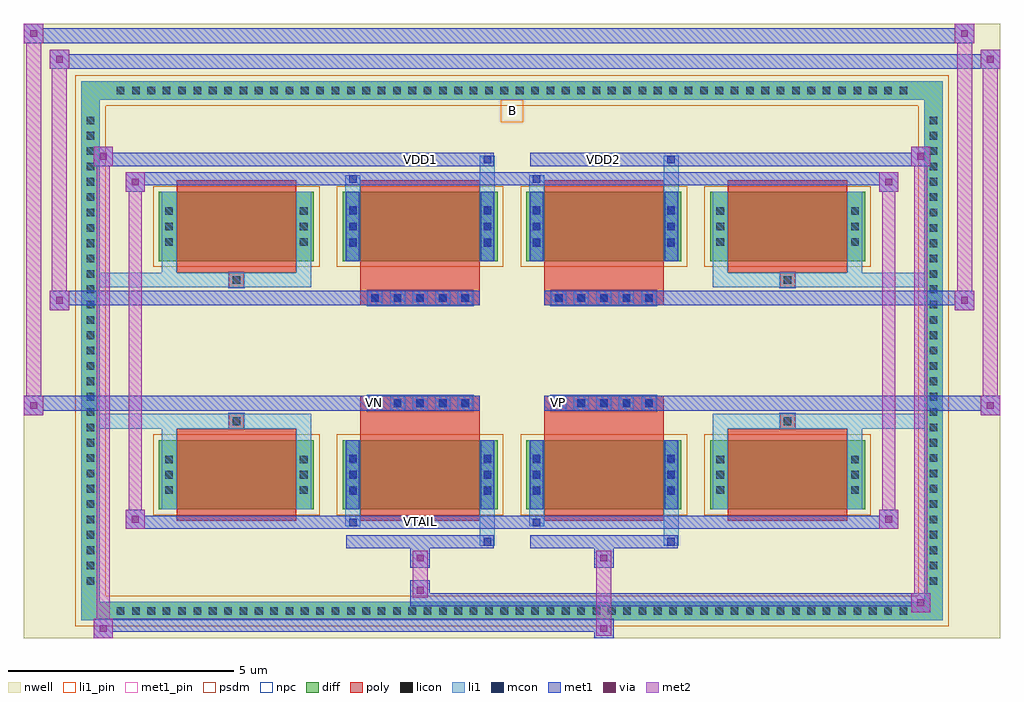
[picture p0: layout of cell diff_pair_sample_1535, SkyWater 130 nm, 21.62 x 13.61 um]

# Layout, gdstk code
import gdstk
lib = gdstk.Library(unit=1e-6, precision=5e-09)
def R(c, l, rs):  # rectangles x0, y0, x1, y1
    for r in rs: c.add(gdstk.rectangle(r[:2], r[2:], *l))
def A(c, l, x, y, w, h, nx, ny, dx, dy):  # array of equal rectangles
    R(c, l, [(x+i*dx, y+j*dy, x+i*dx+w, y+j*dy+h) for i in range(nx) for j in range(ny)])
def P(c, l, *ps):  # polygons
    for p in ps: c.add(gdstk.Polygon(p, *l))
nwell = (64, 20)
diff = (65, 20)
poly = (66, 20)
licon = (66, 44)
li1_pin = (67, 16)
li1 = (67, 20)
mcon = (67, 44)
met1_pin = (68, 16)
met1 = (68, 20)
via = (68, 44)
met2 = (69, 20)
psdm = (94, 20)
npc = (95, 20)

diff_pair_sample_1535 = lib.new_cell('diff_pair_sample_1535')
R(diff_pair_sample_1535, nwell, [(-10.81,-6.37,10.81,7.24), (-8.13,-4.56,-0.01,-0.8), (0.01,-4.56,8.13,-0.8), (-8.13,0.8,-0.01,4.56), (0.01,0.8,8.13,4.56)])
A(diff_pair_sample_1535, diff, -8.875, -5.97, 0.41, 0.41, 52, 2, 0.34, 11.53)
A(diff_pair_sample_1535, diff, -9.54, -5.305, 0.41, 0.41, 1, 31, 0, 0.34)
A(diff_pair_sample_1535, diff, 9.13, -5.305, 0.41, 0.41, 1, 31, 0, 0.34)
A(diff_pair_sample_1535, diff, -7.82, -3.515, 3.43, 1.53, 4, 2, 4.07, 5.5)
R(diff_pair_sample_1535, diff, [(-8.875,-5.97,8.875,-5.56), (-9.54,-5.305,-9.13,5.305), (9.13,-5.305,9.54,5.305), (-8.875,5.56,8.875,5.97)])
P(diff_pair_sample_1535, diff, [(9.54,5.97),(-9.54,5.97),(-9.54,-5.56),(-9.13,-5.56),(-9.13,5.56),(9.13,5.56),(9.13,-5.56),(-9.13,-5.56),(-9.54,-5.56),(-9.54,-5.97),(9.54,-5.97)])
A(diff_pair_sample_1535, poly, -7.43, -3.77, 2.65, 2.04, 4, 2, 4.07, 5.5)
A(diff_pair_sample_1535, poly, -3.2, -1.33, 0.33, 0.33, 5, 2, 0.5, 2.33)
A(diff_pair_sample_1535, poly, 0.87, -1.33, 0.33, 0.33, 5, 2, 0.5, 2.33)
R(diff_pair_sample_1535, poly, [(-6.27,-1.73,-5.94,-1.4), (-6.27,-1.73,-5.94,-1.4), (-3.36,-1.73,-0.71,-1.33), (0.71,-1.73,3.36,-1.33), (5.94,-1.73,6.27,-1.4), (5.94,-1.73,6.27,-1.4), (-3.36,-1.33,-0.71,-1), (0.71,-1.33,3.36,-1), (-3.36,1,-0.71,1.33), (0.71,1,3.36,1.33), (-3.36,1.33,-0.71,1.73), (0.71,1.33,3.36,1.73), (-6.27,1.4,-5.94,1.73), (-6.27,1.4,-5.94,1.73), (5.94,1.4,6.27,1.73), (5.94,1.4,6.27,1.73)])
A(diff_pair_sample_1535, licon, -8.755, -5.85, 0.17, 0.17, 52, 2, 0.34, 11.53)
A(diff_pair_sample_1535, licon, -9.42, -5.185, 0.17, 0.17, 1, 31, 0, 0.34)
A(diff_pair_sample_1535, licon, 9.25, -5.185, 0.17, 0.17, 1, 31, 0, 0.34)
A(diff_pair_sample_1535, licon, -7.68, -3.175, 0.17, 0.17, 1, 3, 0, 0.34)
A(diff_pair_sample_1535, licon, -4.7, -3.175, 0.17, 0.17, 1, 3, 0, 0.34)
A(diff_pair_sample_1535, licon, -3.61, -3.175, 0.17, 0.17, 1, 3, 0, 0.34)
A(diff_pair_sample_1535, licon, -0.63, -3.175, 0.17, 0.17, 1, 3, 0, 0.34)
A(diff_pair_sample_1535, licon, 0.46, -3.175, 0.17, 0.17, 1, 3, 0, 0.34)
A(diff_pair_sample_1535, licon, 3.44, -3.175, 0.17, 0.17, 1, 3, 0, 0.34)
A(diff_pair_sample_1535, licon, 4.53, -3.175, 0.17, 0.17, 1, 3, 0, 0.34)
A(diff_pair_sample_1535, licon, 7.51, -3.175, 0.17, 0.17, 1, 3, 0, 0.34)
A(diff_pair_sample_1535, licon, -3.12, -1.25, 0.17, 0.17, 5, 2, 0.5, 2.33)
A(diff_pair_sample_1535, licon, 0.95, -1.25, 0.17, 0.17, 5, 2, 0.5, 2.33)
A(diff_pair_sample_1535, licon, -7.68, 2.325, 0.17, 0.17, 1, 3, 0, 0.34)
A(diff_pair_sample_1535, licon, -4.7, 2.325, 0.17, 0.17, 1, 3, 0, 0.34)
A(diff_pair_sample_1535, licon, -3.61, 2.325, 0.17, 0.17, 1, 3, 0, 0.34)
A(diff_pair_sample_1535, licon, -0.63, 2.325, 0.17, 0.17, 1, 3, 0, 0.34)
A(diff_pair_sample_1535, licon, 0.46, 2.325, 0.17, 0.17, 1, 3, 0, 0.34)
A(diff_pair_sample_1535, licon, 3.44, 2.325, 0.17, 0.17, 1, 3, 0, 0.34)
A(diff_pair_sample_1535, licon, 4.53, 2.325, 0.17, 0.17, 1, 3, 0, 0.34)
A(diff_pair_sample_1535, licon, 7.51, 2.325, 0.17, 0.17, 1, 3, 0, 0.34)
R(diff_pair_sample_1535, licon, [(-6.19,-1.65,-6.02,-1.48), (6.02,-1.65,6.19,-1.48), (-6.19,1.48,-6.02,1.65), (6.02,1.48,6.19,1.65)])
R(diff_pair_sample_1535, li1_pin, [(-0.25,5.06,0.25,5.56)])
A(diff_pair_sample_1535, li1, -8.835, -5.93, 0.33, 0.33, 52, 2, 0.34, 11.53)
A(diff_pair_sample_1535, li1, -9.5, -5.265, 0.33, 0.33, 1, 31, 0, 0.34)
A(diff_pair_sample_1535, li1, 9.17, -5.265, 0.33, 0.33, 1, 31, 0, 0.34)
A(diff_pair_sample_1535, li1, -7.76, -3.255, 0.33, 0.33, 1, 3, 0, 0.34)
A(diff_pair_sample_1535, li1, -4.78, -3.255, 0.33, 0.33, 1, 3, 0, 0.34)
A(diff_pair_sample_1535, li1, -3.69, -3.255, 0.33, 0.33, 1, 3, 0, 0.34)
A(diff_pair_sample_1535, li1, -0.71, -3.255, 0.33, 0.33, 1, 3, 0, 0.34)
A(diff_pair_sample_1535, li1, 0.38, -3.255, 0.33, 0.33, 1, 3, 0, 0.34)
A(diff_pair_sample_1535, li1, 3.36, -3.255, 0.33, 0.33, 1, 3, 0, 0.34)
A(diff_pair_sample_1535, li1, 4.45, -3.255, 0.33, 0.33, 1, 3, 0, 0.34)
A(diff_pair_sample_1535, li1, 7.43, -3.255, 0.33, 0.33, 1, 3, 0, 0.34)
A(diff_pair_sample_1535, li1, -3.61, -3.195, 0.17, 0.17, 1, 3, 0, 0.36)
A(diff_pair_sample_1535, li1, -0.63, -3.195, 0.17, 0.17, 1, 3, 0, 0.36)
A(diff_pair_sample_1535, li1, 0.46, -3.195, 0.17, 0.17, 1, 3, 0, 0.36)
A(diff_pair_sample_1535, li1, 3.44, -3.195, 0.17, 0.17, 1, 3, 0, 0.36)
A(diff_pair_sample_1535, li1, -3.2, -1.33, 0.33, 0.33, 5, 2, 0.5, 2.33)
A(diff_pair_sample_1535, li1, 0.87, -1.33, 0.33, 0.33, 5, 2, 0.5, 2.33)
A(diff_pair_sample_1535, li1, -7.76, 2.245, 0.33, 0.33, 1, 3, 0, 0.34)
A(diff_pair_sample_1535, li1, -4.78, 2.245, 0.33, 0.33, 1, 3, 0, 0.34)
A(diff_pair_sample_1535, li1, -3.69, 2.245, 0.33, 0.33, 1, 3, 0, 0.34)
A(diff_pair_sample_1535, li1, -0.71, 2.245, 0.33, 0.33, 1, 3, 0, 0.34)
A(diff_pair_sample_1535, li1, 0.38, 2.245, 0.33, 0.33, 1, 3, 0, 0.34)
A(diff_pair_sample_1535, li1, 3.36, 2.245, 0.33, 0.33, 1, 3, 0, 0.34)
A(diff_pair_sample_1535, li1, 4.45, 2.245, 0.33, 0.33, 1, 3, 0, 0.34)
A(diff_pair_sample_1535, li1, 7.43, 2.245, 0.33, 0.33, 1, 3, 0, 0.34)
A(diff_pair_sample_1535, li1, -3.61, 2.305, 0.17, 0.17, 1, 3, 0, 0.36)
A(diff_pair_sample_1535, li1, -0.63, 2.305, 0.17, 0.17, 1, 3, 0, 0.36)
A(diff_pair_sample_1535, li1, 0.46, 2.305, 0.17, 0.17, 1, 3, 0, 0.36)
A(diff_pair_sample_1535, li1, 3.44, 2.305, 0.17, 0.17, 1, 3, 0, 0.36)
R(diff_pair_sample_1535, li1, [(-9.54,-5.97,-9.13,-5.56), (-9.54,-5.97,-9.13,-5.56), (-9.13,-5.97,9.13,-5.56), (9.13,-5.97,9.54,-5.56), (9.13,-5.97,9.54,-5.56), (-9.54,-5.56,-9.13,5.56), (9.13,-5.56,9.54,5.56), (-0.71,-4.32,-0.38,-3.515), (-0.63,-4.32,-0.46,-4.15), (3.36,-4.32,3.69,-3.515), (3.44,-4.32,3.61,-4.15), (-3.69,-3.89,-3.36,-3.515), (-3.61,-3.89,-3.44,-3.72), (0.38,-3.89,0.71,-3.515), (0.46,-3.89,0.63,-3.72), (-7.76,-3.515,-7.43,-1.985), (-4.78,-3.515,-4.45,-1.985), (-3.69,-3.515,-3.36,-1.985), (-0.71,-3.515,-0.38,-1.985), (0.38,-3.515,0.71,-1.985), (3.36,-3.515,3.69,-1.985), (4.45,-3.515,4.78,-1.985), (7.43,-3.515,7.76,-1.985), (-3.61,-3.195,-3.44,-2.305), (-0.63,-3.195,-0.46,-2.305), (0.46,-3.195,0.63,-2.305), (3.44,-3.195,3.61,-2.305), (-7.76,-1.985,-7.43,-1.4), (-4.78,-1.985,-4.45,-1.4), (4.45,-1.985,4.78,-1.4), (7.43,-1.985,7.76,-1.4), (-9.54,-1.73,-6.27,-1.4), (-7.76,-1.73,-6.27,-1.4), (-6.27,-1.73,-5.94,-1.4), (-5.94,-1.73,-4.45,-1.4), (4.45,-1.73,5.94,-1.4), (5.94,-1.73,6.27,-1.4), (5.94,-1.73,9.54,-1.4), (6.27,-1.73,7.76,-1.4), (-9.54,1.4,-6.27,1.73), (-7.76,1.4,-6.27,1.73), (-7.76,1.4,-7.43,1.985), (-6.27,1.4,-5.94,1.73), (-5.94,1.4,-4.45,1.73), (-4.78,1.4,-4.45,1.985), (4.45,1.4,5.94,1.73), (4.45,1.4,4.78,1.985), (5.94,1.4,6.27,1.73), (5.94,1.4,9.54,1.73), (6.27,1.4,7.76,1.73), (7.43,1.4,7.76,1.985), (-7.76,1.985,-7.43,3.515), (-4.78,1.985,-4.45,3.515), (-3.69,1.985,-3.36,3.515), (-0.71,1.985,-0.38,3.515), (0.38,1.985,0.71,3.515), (3.36,1.985,3.69,3.515), (4.45,1.985,4.78,3.515), (7.43,1.985,7.76,3.515), (-3.61,2.305,-3.44,3.195), (-0.63,2.305,-0.46,3.195), (0.46,2.305,0.63,3.195), (3.44,2.305,3.61,3.195), (-3.69,3.515,-3.36,3.89), (-0.71,3.515,-0.38,4.32), (0.38,3.515,0.71,3.89), (3.36,3.515,3.69,4.32), (-3.61,3.72,-3.44,3.89), (0.46,3.72,0.63,3.89), (-0.63,4.15,-0.46,4.32), (3.44,4.15,3.61,4.32), (-9.54,5.56,-9.13,5.97), (-9.54,5.56,-9.13,5.97), (-9.13,5.56,9.13,5.97), (9.13,5.56,9.54,5.97), (9.13,5.56,9.54,5.97)])
A(diff_pair_sample_1535, mcon, -3.61, -3.195, 0.17, 0.17, 1, 3, 0, 0.36)
A(diff_pair_sample_1535, mcon, -0.63, -3.195, 0.17, 0.17, 1, 3, 0, 0.36)
A(diff_pair_sample_1535, mcon, 0.46, -3.195, 0.17, 0.17, 1, 3, 0, 0.36)
A(diff_pair_sample_1535, mcon, 3.44, -3.195, 0.17, 0.17, 1, 3, 0, 0.36)
A(diff_pair_sample_1535, mcon, -3.12, -1.25, 0.17, 0.17, 5, 2, 0.5, 2.33)
A(diff_pair_sample_1535, mcon, 0.95, -1.25, 0.17, 0.17, 5, 2, 0.5, 2.33)
A(diff_pair_sample_1535, mcon, -3.61, 2.305, 0.17, 0.17, 1, 3, 0, 0.36)
A(diff_pair_sample_1535, mcon, -0.63, 2.305, 0.17, 0.17, 1, 3, 0, 0.36)
A(diff_pair_sample_1535, mcon, 0.46, 2.305, 0.17, 0.17, 1, 3, 0, 0.36)
A(diff_pair_sample_1535, mcon, 3.44, 2.305, 0.17, 0.17, 1, 3, 0, 0.36)
R(diff_pair_sample_1535, mcon, [(-0.63,-4.32,-0.46,-4.15), (3.44,-4.32,3.61,-4.15), (-3.61,-3.89,-3.44,-3.72), (0.46,-3.89,0.63,-3.72), (-3.61,3.72,-3.44,3.89), (0.46,3.72,0.63,3.89), (-0.63,4.15,-0.46,4.32), (3.44,4.15,3.61,4.32)])
R(diff_pair_sample_1535, met1_pin, [(-2.17,-3.93,-1.9,-3.66), (-3.17,-1.29,-2.9,-1.02), (0.9,-1.29,1.17,-1.02), (-2.17,4.11,-1.9,4.38), (1.9,4.11,2.17,4.38)])
A(diff_pair_sample_1535, met1, -3.67, -3.255, 0.29, 0.29, 1, 3, 0, 0.36)
A(diff_pair_sample_1535, met1, -0.69, -3.255, 0.29, 0.29, 1, 3, 0, 0.36)
A(diff_pair_sample_1535, met1, 0.4, -3.255, 0.29, 0.29, 1, 3, 0, 0.36)
A(diff_pair_sample_1535, met1, 3.38, -3.255, 0.29, 0.29, 1, 3, 0, 0.36)
A(diff_pair_sample_1535, met1, -3.18, -1.31, 0.29, 0.29, 5, 2, 0.5, 2.33)
A(diff_pair_sample_1535, met1, 0.89, -1.31, 0.29, 0.29, 5, 2, 0.5, 2.33)
A(diff_pair_sample_1535, met1, -3.67, 2.245, 0.29, 0.29, 1, 3, 0, 0.36)
A(diff_pair_sample_1535, met1, -0.69, 2.245, 0.29, 0.29, 1, 3, 0, 0.36)
A(diff_pair_sample_1535, met1, 0.4, 2.245, 0.29, 0.29, 1, 3, 0, 0.36)
A(diff_pair_sample_1535, met1, 3.38, 2.245, 0.29, 0.29, 1, 3, 0, 0.36)
R(diff_pair_sample_1535, met1, [(-9.27,-6.37,-8.84,-5.94), (1.82,-6.37,2.25,-5.94), (-9.27,-6.23,2.25,-5.94), (8.84,-5.8,9.27,-5.37), (-2.25,-5.66,9.27,-5.37), (-2.25,-5.52,-1.82,-5.09), (-2.25,-4.81,-1.82,-4.38), (1.82,-4.81,2.25,-4.38), (-3.67,-4.38,-0.4,-4.09), (-0.69,-4.38,-0.4,-4.09), (0.4,-4.38,3.67,-4.09), (3.38,-4.38,3.67,-4.09), (-8.56,-3.95,-8.13,-3.52), (-8.56,-3.95,-3.67,-3.66), (-3.67,-3.95,-3.38,-3.66), (-3.67,-3.95,-0.4,-3.66), (-0.4,-3.95,0.4,-3.66), (0.4,-3.95,0.69,-3.66), (0.4,-3.95,3.67,-3.66), (3.67,-3.95,8.56,-3.66), (8.13,-3.95,8.56,-3.52), (-3.67,-3.515,-3.38,-1.985), (-0.69,-3.515,-0.4,-1.985), (0.4,-3.515,0.69,-1.985), (3.38,-3.515,3.67,-1.985), (-10.81,-1.43,-10.38,-1), (10.38,-1.43,10.81,-1), (-10.81,-1.33,-0.71,-1), (-3.36,-1.33,-0.71,-1), (0.71,-1.33,3.36,-1), (0.71,-1.33,10.81,-1), (-10.24,0.9,-9.81,1.33), (9.81,0.9,10.24,1.33), (-10.24,1,-3.36,1.33), (-3.36,1,-0.71,1.33), (0.71,1,3.36,1.33), (3.36,1,10.24,1.33), (-3.67,1.985,-3.38,3.515), (-0.69,1.985,-0.4,3.515), (0.4,1.985,0.69,3.515), (3.38,1.985,3.67,3.515), (-8.56,3.52,-8.13,3.95), (8.13,3.52,8.56,3.95), (-8.56,3.66,-3.67,3.95), (-3.67,3.66,-3.38,3.95), (-3.67,3.66,-0.4,3.95), (-0.4,3.66,0.4,3.95), (0.4,3.66,0.69,3.95), (0.4,3.66,3.67,3.95), (3.67,3.66,8.56,3.95), (-9.27,4.09,-8.84,4.52), (-9.27,4.09,-3.67,4.38), (-3.67,4.09,-0.4,4.38), (-0.69,4.09,-0.4,4.38), (0.4,4.09,3.67,4.38), (3.38,4.09,3.67,4.38), (3.67,4.09,9.27,4.38), (8.84,4.09,9.27,4.52), (-10.24,6.24,-9.81,6.67), (-10.24,6.24,-8.13,6.57), (-8.13,6.24,8.13,6.57), (8.13,6.24,10.81,6.57), (10.38,6.24,10.81,6.67), (-10.81,6.81,-10.38,7.24), (-10.81,6.81,-8.13,7.14), (-8.13,6.81,8.13,7.14), (8.13,6.81,10.24,7.14), (9.81,6.81,10.24,7.24)])
R(diff_pair_sample_1535, via, [(-9.13,-6.23,-8.98,-6.08), (1.96,-6.23,2.11,-6.08), (8.98,-5.66,9.13,-5.51), (-2.11,-5.38,-1.96,-5.23), (-2.11,-4.67,-1.96,-4.52), (1.96,-4.67,2.11,-4.52), (-8.42,-3.81,-8.27,-3.66), (8.27,-3.81,8.42,-3.66), (-10.67,-1.29,-10.52,-1.14), (10.52,-1.29,10.67,-1.14), (-10.1,1.04,-9.95,1.19), (9.95,1.04,10.1,1.19), (-8.42,3.66,-8.27,3.81), (8.27,3.66,8.42,3.81), (-9.13,4.23,-8.98,4.38), (8.98,4.23,9.13,4.38), (-10.1,6.38,-9.95,6.53), (10.52,6.38,10.67,6.53), (-10.67,6.95,-10.52,7.1), (9.95,6.95,10.1,7.1)])
R(diff_pair_sample_1535, met2, [(-9.27,-6.37,-8.84,-5.94), (-9.2,-6.37,-8.91,4.52), (-8.91,-6.37,-8.84,-5.94), (-9.22,-6.32,-8.89,-5.99), (1.87,-6.32,2.2,-5.99), (1.87,-5.99,2.2,-4.76), (8.84,-5.8,9.27,-5.37), (8.91,-5.8,9.2,4.52), (9.2,-5.8,9.27,-5.37), (8.89,-5.75,9.22,-5.42), (-2.2,-5.47,-1.87,-5.14), (-2.2,-5.14,-1.87,-4.76), (-2.2,-4.76,-1.87,-4.43), (1.87,-4.76,2.2,-4.43), (-8.56,-3.95,-8.13,-3.52), (-8.49,-3.95,-8.2,3.95), (-8.2,-3.95,-8.13,-3.52), (8.13,-3.95,8.56,-3.52), (8.2,-3.95,8.49,3.95), (8.49,-3.95,8.56,-3.52), (-8.51,-3.9,-8.18,-3.57), (8.18,-3.9,8.51,-3.57), (-10.81,-1.43,-10.38,-1), (-10.76,-1.43,-10.43,7.24), (-10.43,-1.43,-10.38,-1), (10.38,-1.43,10.81,-1), (10.43,-1.43,10.76,6.67), (10.76,-1.43,10.81,-1), (-10.76,-1.38,-10.43,-1.05), (10.43,-1.38,10.76,-1.05), (-10.24,0.9,-9.81,1.33), (-10.19,0.9,-9.86,6.67), (-9.86,0.9,-9.81,1.33), (9.81,0.9,10.24,1.33), (9.86,0.9,10.19,7.24), (10.19,0.9,10.24,1.33), (-10.19,0.95,-9.86,1.28), (9.86,0.95,10.19,1.28), (-8.56,3.52,-8.13,3.95), (-8.2,3.52,-8.13,3.95), (8.13,3.52,8.56,3.95), (8.49,3.52,8.56,3.95), (-8.51,3.57,-8.18,3.9), (8.18,3.57,8.51,3.9), (-9.27,4.09,-8.84,4.52), (-8.91,4.09,-8.84,4.52), (8.84,4.09,9.27,4.52), (9.2,4.09,9.27,4.52), (-9.22,4.14,-8.89,4.47), (8.89,4.14,9.22,4.47), (-10.24,6.24,-9.81,6.67), (-9.86,6.24,-9.81,6.67), (10.38,6.24,10.81,6.67), (10.76,6.24,10.81,6.67), (-10.19,6.29,-9.86,6.62), (10.43,6.29,10.76,6.62), (-10.81,6.81,-10.38,7.24), (-10.43,6.81,-10.38,7.24), (9.81,6.81,10.24,7.24), (10.19,6.81,10.24,7.24), (-10.76,6.86,-10.43,7.19), (9.86,6.86,10.19,7.19)])
A(diff_pair_sample_1535, psdm, -7.95, -3.645, 3.69, 1.79, 4, 2, 4.07, 5.5)
P(diff_pair_sample_1535, psdm, [(9.67,6.1),(-9.67,6.1),(-9.67,-5.43),(-9,-5.43),(-9,5.43),(9,5.43),(9,-5.43),(-9,-5.43),(-9.67,-5.43),(-9.67,-6.1),(9.67,-6.1)])
A(diff_pair_sample_1535, npc, -3.22, -1.35, 0.37, 0.37, 5, 2, 0.5, 2.33)
A(diff_pair_sample_1535, npc, 0.85, -1.35, 0.37, 0.37, 5, 2, 0.5, 2.33)
R(diff_pair_sample_1535, npc, [(-6.29,-1.75,-5.92,-1.38), (5.92,-1.75,6.29,-1.38), (-3.22,-1.35,-2.35,-0.98), (-3.22,-1.35,-2.35,-0.98), (-2.72,-1.35,-1.85,-0.98), (-2.72,-1.35,-1.85,-0.98), (-2.22,-1.35,-1.35,-0.98), (-2.22,-1.35,-1.35,-0.98), (-1.72,-1.35,-0.85,-0.98), (-1.72,-1.35,-0.85,-0.98), (0.85,-1.35,1.72,-0.98), (0.85,-1.35,1.72,-0.98), (1.35,-1.35,2.22,-0.98), (1.35,-1.35,2.22,-0.98), (1.85,-1.35,2.72,-0.98), (1.85,-1.35,2.72,-0.98), (2.35,-1.35,3.22,-0.98), (2.35,-1.35,3.22,-0.98), (-3.22,0.98,-2.35,1.35), (-3.22,0.98,-2.35,1.35), (-2.72,0.98,-1.85,1.35), (-2.72,0.98,-1.85,1.35), (-2.22,0.98,-1.35,1.35), (-2.22,0.98,-1.35,1.35), (-1.72,0.98,-0.85,1.35), (-1.72,0.98,-0.85,1.35), (0.85,0.98,1.72,1.35), (0.85,0.98,1.72,1.35), (1.35,0.98,2.22,1.35), (1.35,0.98,2.22,1.35), (1.85,0.98,2.72,1.35), (1.85,0.98,2.72,1.35), (2.35,0.98,3.22,1.35), (2.35,0.98,3.22,1.35), (-6.29,1.38,-5.92,1.75), (5.92,1.38,6.29,1.75)])
diff_pair_sample_1535.add(gdstk.Label('VTAIL', (-2.035,-3.795), layer=68, texttype=5))
diff_pair_sample_1535.add(gdstk.Label('VN', (-3.035,-1.155), layer=68, texttype=5))
diff_pair_sample_1535.add(gdstk.Label('VP', (1.035,-1.155), layer=68, texttype=5))
diff_pair_sample_1535.add(gdstk.Label('B', (0,5.31), layer=67, texttype=5))
diff_pair_sample_1535.add(gdstk.Label('VDD2', (2.035,4.245), layer=68, texttype=5))
diff_pair_sample_1535.add(gdstk.Label('VDD1', (-2.035,4.245), layer=68, texttype=5))

lib.write_gds('diff_pair_sample_1535.gds')
